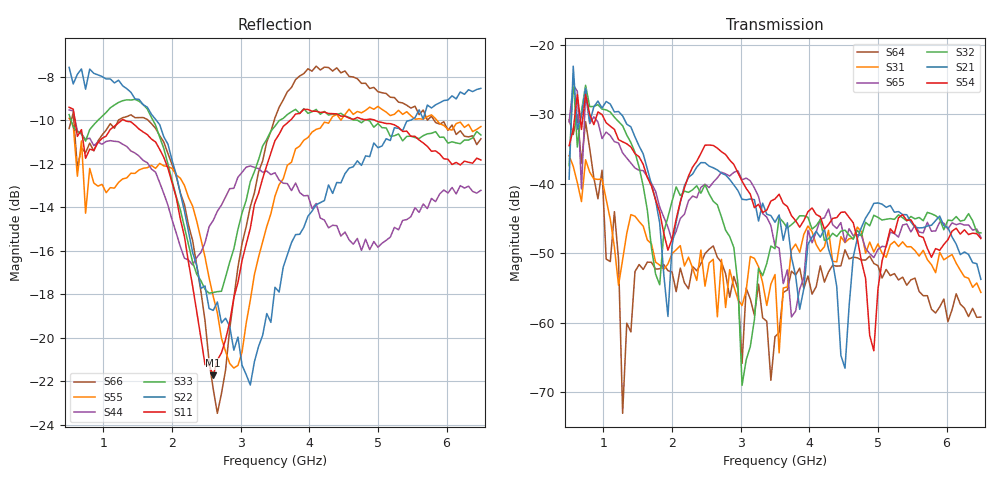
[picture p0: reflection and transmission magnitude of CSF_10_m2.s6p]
!Keysight Technologies,M9804A,MY58100912,A.14.10.03
!Date: Thursday, April 27, 2023 10:28:33
!Correction: S11(C  6-Port  )
!S12(C  6-Port  )
!S13(C  6-Port  )
!S14(C  6-Port  )
!S15(C  6-Port  )
!S16(C  6-Port  )
!S21(C  6-Port  )
!S22(C  6-Port  )
!S23(C  6-Port  )
!S24(C  6-Port  )
!S25(C  6-Port  )
!S26(C  6-Port  )
!S31(C  6-Port  )
!S32(C  6-Port  )
!S33(C  6-Port  )
!S34(C  6-Port  )
!S35(C  6-Port  )
!S36(C  6-Port  )
!S41(C  6-Port  )
!S42(C  6-Port  )
!S43(C  6-Port  )
!S44(C  6-Port  )
!S45(C  6-Port  )
!S46(C  6-Port  )
!S51(C  6-Port  )
!S52(C  6-Port  )
!S53(C  6-Port  )
!S54(C  6-Port  )
!S55(C  6-Port  )
!S56(C  6-Port  )
!S61(C  6-Port  )
!S62(C  6-Port  )
!S63(C  6-Port  )
!S64(C  6-Port  )
!S65(C  6-Port  )
!S66(C  6-Port  )
!S6P File: Measurement: :
# Hz S  RI  R 50
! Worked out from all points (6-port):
!   101 points, 500 MHz to 6.5 GHz, reference 50 ohm
!   strongest paths, dB at 500 MHz, 2 GHz, 3.5 GHz, 5 GHz, 6.5 GHz:
!     S54: -34.5, -47.9, -42.2, -55.2, -47.9
!     S21: -39.3, -48.9, -45.5, -42.8, -53.7
!     S32: -37.4, -42.5, -49.3, -44.8, -47.1
!     S65: -31.1, -48.2, -48.9, -49.4, -47.7
!     S31: -35.9, -50.1, -53.1, -48.7, -55.6
!     S64: -30.8, -52.7, -62.0, -51.8, -59.2
!   lowest |S11| = -21.7 dB at 2.6 GHz (marker M1), VSWR 1.18, Z = 42.7 + j1.99 ohm
!   |S11| at or under -10 dB: 584.8 MHz to 1.264 GHz (678.7 MHz wide, 73.4 % of centre); 1.311 GHz to 3.721 GHz (2.41 GHz wide, 95.8 % of centre); 4.96 GHz to end of sweep
